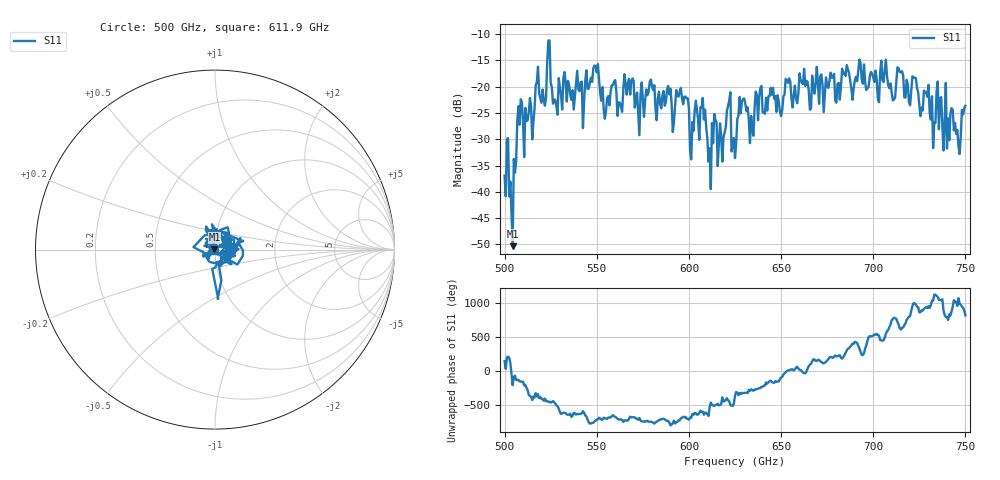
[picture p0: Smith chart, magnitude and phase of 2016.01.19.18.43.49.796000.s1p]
!Created with skrf (http://scikit-rf.org).
# GHz S RI R 50.0
!freq ReS11 ImS11
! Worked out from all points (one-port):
!   401 points, 500 GHz to 750 GHz, reference 50 ohm
!   lowest |S11| = -50.3 dB at 504.4 GHz (marker M1), VSWR 1.01, Z = 49.7 + j0.117 ohm
!   |S11| at or under -10 dB: start of sweep to end of sweep
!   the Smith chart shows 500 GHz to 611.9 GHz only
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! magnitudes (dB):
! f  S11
! 500 GHz  -36.9
! 504.4 GHz  -50.3
! 508.1 GHz  -27.2
! 521.2 GHz  -22.6
! 524.4 GHz  -11.2
! 527.5 GHz  -22.5
! 531.2 GHz  -24.3
! 549.4 GHz  -16.1
! 553.8 GHz  -24.3
! 562.5 GHz  -23.0
! 566.2 GHz  -21.5
! 571.9 GHz  -21.1
! 593.8 GHz  -21.7
! 601.2 GHz  -33.8
! 607.5 GHz  -22.1
! 610.6 GHz  -34.2
! 621.2 GHz  -23.7
! 625 GHz  -33.6
! 628.8 GHz  -22.8
! 633.8 GHz  -25.6
! 638.1 GHz  -22.0
! 656.2 GHz  -24.0
! 687.5 GHz  -18.9
! 718.8 GHz  -19.6
! 732.5 GHz  -31.7
! 735.6 GHz  -28.1
! 746.2 GHz  -31.3
! 750 GHz  -23.6
